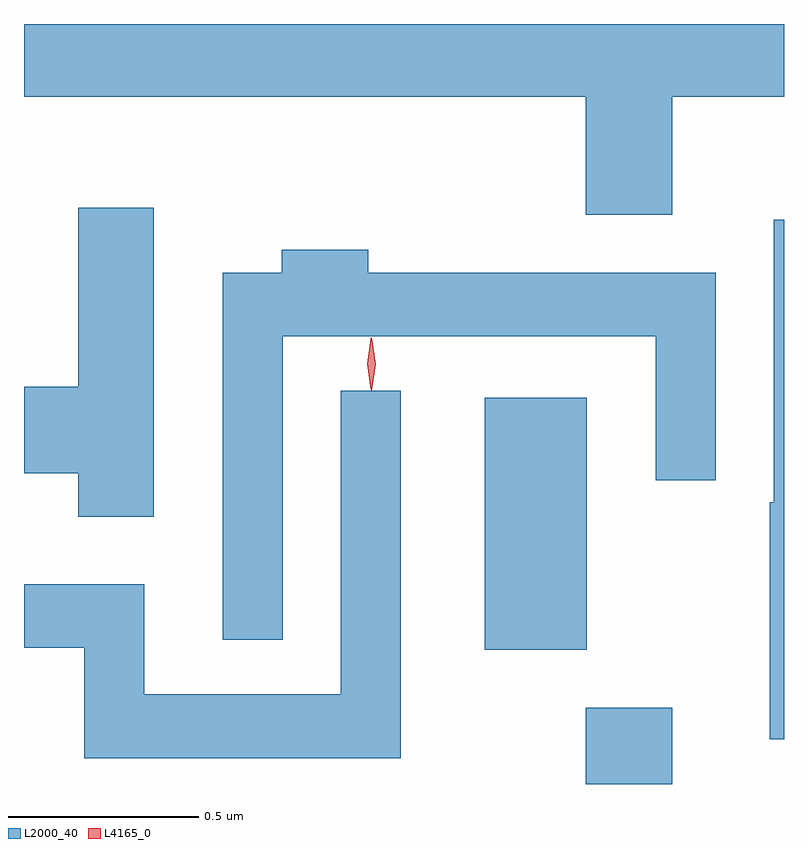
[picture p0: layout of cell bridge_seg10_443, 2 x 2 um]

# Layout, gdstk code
import gdstk
lib = gdstk.Library(unit=1e-6, precision=1e-09)
def R(c, l, rs):  # rectangles x0, y0, x1, y1
    for r in rs: c.add(gdstk.rectangle(r[:2], r[2:], *l))
def P(c, l, *ps):  # polygons
    for p in ps: c.add(gdstk.Polygon(p, *l))
L2000_40 = (2000, 40)
L4165_0 = (4165, 0)

bridge_seg10_443 = lib.new_cell('bridge_seg10_443')
R(bridge_seg10_443, L2000_40, [(1378.061,2092.128,1378.289,2092.329), (1377.796,2092.481,1378.064,2093.144)])
P(bridge_seg10_443, L2000_40, [(1378.289,2093.936),(1378.583,2093.936),(1378.583,2094.128),(1376.583,2094.128),(1376.583,2093.936),(1378.061,2093.936),(1378.061,2093.626),(1378.289,2093.626)],
  [(1376.924,2093.644),(1376.726,2093.644),(1376.726,2093.174),(1376.583,2093.174),(1376.583,2092.946),(1376.726,2092.946),(1376.726,2092.831),(1376.924,2092.831)],
  [(1378.583,2093.613),(1378.556,2093.613),(1378.556,2092.87),(1378.546,2092.87),(1378.546,2092.246),(1378.583,2092.246)],
  [(1377.264,2093.306),(1378.246,2093.306),(1378.246,2092.928),(1378.404,2092.928),(1378.404,2093.474),(1377.489,2093.474),(1377.489,2093.534),(1377.261,2093.534),(1377.261,2093.474),(1377.106,2093.474),(1377.106,2092.508),(1377.264,2092.508)],
  [(1377.574,2093.163),(1377.416,2093.163),(1377.416,2092.364),(1376.899,2092.364),(1376.899,2092.654),(1376.583,2092.654),(1376.583,2092.486),(1376.741,2092.486),(1376.741,2092.196),(1377.574,2092.196)])
P(bridge_seg10_443, L4165_0, [(1377.498,2093.163),(1377.497,2093.164),(1377.488,2093.233),(1377.497,2093.302),(1377.498,2093.303),(1377.498,2093.302),(1377.508,2093.233),(1377.498,2093.164)],
  [(1377.496,2093.167),(1377.496,2093.167),(1377.486,2093.234),(1377.496,2093.3),(1377.496,2093.301),(1377.497,2093.3),(1377.506,2093.234),(1377.497,2093.167)])

lib.write_gds('bridge_seg10_443.gds')
